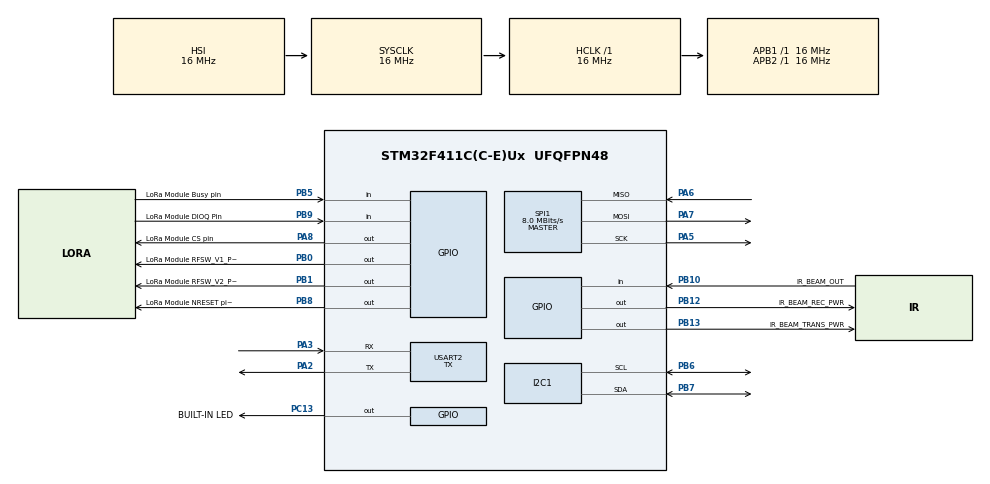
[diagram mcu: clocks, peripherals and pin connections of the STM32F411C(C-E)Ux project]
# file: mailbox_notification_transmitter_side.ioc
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Mcu.Family=STM32F4
Mcu.Name=STM32F411C(C-E)Ux
Mcu.Package=UFQFPN48
NVIC.PriorityGroup=NVIC_PRIORITYGROUP_4
NVIC.RTC_WKUP_IRQn=true\:0\:0\:false\:false\:true\:true\:true\:true
PA0-WKUP.Mode=SYS_WakeUp0
PA0-WKUP.Signal=SYS_WKUP
PA2.GPIO_Speed=GPIO_SPEED_FREQ_LOW
PA2.Mode=Asynchronous
PA2.Signal=USART2_TX
PA3.GPIO_Speed=GPIO_SPEED_FREQ_LOW
PA3.Mode=Asynchronous
PA3.Signal=USART2_RX
PA5.GPIO_Speed=GPIO_SPEED_FREQ_LOW
PA5.Mode=Full_Duplex_Master
PA5.Signal=SPI1_SCK
PA6.GPIO_Speed=GPIO_SPEED_FREQ_LOW
PA6.Mode=Full_Duplex_Master
PA6.Signal=SPI1_MISO
PA7.GPIO_Speed=GPIO_SPEED_FREQ_LOW
PA7.Mode=Full_Duplex_Master
PA7.Signal=SPI1_MOSI
PA8.GPIO_Label=LoRa Module CS pin
PA8.PinState=GPIO_PIN_SET
PA8.Signal=GPIO_Output
PB0.GPIO_Label=LoRa Module RFSW_V1_PIN_POS
PB0.Signal=GPIO_Output
PB1.GPIO_Label=LoRa Module RFSW_V2_PIN_POS
PB1.Signal=GPIO_Output
PB10.GPIO_Label=IR_BEAM_OUT
PB10.GPIO_PuPd=GPIO_PULLUP
PB10.Signal=GPIO_Input
PB12.GPIO_Label=IR_BEAM_REC_PWR
PB12.Signal=GPIO_Output
PB13.GPIO_Label=IR_BEAM_TRANS_PWR
PB13.PinState=GPIO_PIN_RESET
PB13.Signal=GPIO_Output
PB5.GPIO_Label=LoRa Module Busy pin
PB5.Signal=GPIO_Input
PB6.Mode=I2C
PB6.Signal=I2C1_SCL
PB7.Mode=I2C
PB7.Signal=I2C1_SDA
PB8.GPIO_Label=LoRa Module NRESET pin (Active-Low)
PB8.PinState=GPIO_PIN_SET
PB8.Signal=GPIO_Output
PB9.GPIO_Label=LoRa Module DIOQ Pin
PB9.GPIO_PuPd=GPIO_PULLDOWN
PB9.Signal=GPIO_Input
PC13-ANTI_TAMP.GPIO_Label=BUILT-IN LED
PC13-ANTI_TAMP.Signal=GPIO_Output
PC14-OSC32_IN.Mode=LSE-External-Oscillator
PC14-OSC32_IN.Signal=RCC_OSC32_IN
PC15-OSC32_OUT.Mode=LSE-External-Oscillator
PC15-OSC32_OUT.Signal=RCC_OSC32_OUT
ProjectManager.HeapSize=0x200
ProjectManager.StackSize=0x400
ProjectManager.TargetToolchain=STM32CubeIDE
RCC.48MHZClocksFreq_Value=48000000
RCC.AHBFreq_Value=16000000
RCC.APB1Freq_Value=16000000
RCC.APB1TimFreq_Value=16000000
RCC.APB2Freq_Value=16000000
RCC.APB2TimFreq_Value=16000000
RCC.CortexFreq_Value=16000000
RCC.HCLKFreq_Value=16000000
RCC.HSE_VALUE=25000000
RCC.HSI_VALUE=16000000
RCC.RCC_RTC_Clock_Source=RCC_RTCCLKSOURCE_LSE
RCC.RCC_RTC_Clock_SourceVirtual=RCC_RTCCLKSOURCE_LSE
RCC.SYSCLKFreq_VALUE=16000000
RCC.VCOOutputFreq_Value=192000000
RTC.SynchPrediv=255
RTC.WakeUpClock=RTC_WAKEUPCLOCK_CK_SPRE_16BITS
SPI1.BaudRatePrescaler=SPI_BAUDRATEPRESCALER_2
SPI1.CLKPhase=SPI_PHASE_1EDGE
SPI1.CalculateBaudRate=8.0 MBits/s
SPI1.Direction=SPI_DIRECTION_2LINES
SPI1.Mode=SPI_MODE_MASTER
SPI1.VirtualType=VM_MASTER
USART2.Mode=MODE_TX
USART2.VirtualMode=VM_ASYNC
VP_RTC_VS_RTC_Activate.Mode=RTC_Enabled
VP_RTC_VS_RTC_WakeUp_intern.Mode=WakeUp
board=custom

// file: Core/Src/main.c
/* USER CODE BEGIN Header */
/**
  ******************************************************************************
  * @file           : main.c
  * @brief          : Main program body
  ******************************************************************************
  * @attention
  *
  * Copyright (c) 2026 STMicroelectronics.
  * All rights reserved.
  *
  * This software is licensed under terms that can be found in the LICENSE file
  * in the root directory of this software component.
  * If no LICENSE file comes with this software, it is provided AS-IS.
  *
  ******************************************************************************
  */
/* USER CODE END Header */
#include "main.h"

/* USER CODE BEGIN Includes */
#include "rylr689_driver.h"
//#include "gpio_driver.h"
#include <string.h>
#include "stm32_commons.h"

/* USER CODE END Includes */

/* USER CODE BEGIN PD */

//#define DEBUG_MODE__
#define WAIT_FOR_ACTION_DURATION (3U) /* 5 seconds. */
#define MAILBOX_RXTX_MAGIC_NUMBER 0xDEADBEEFU

/* USER CODE END PD */

I2C_HandleTypeDef hi2c1;

RTC_HandleTypeDef hrtc;

SPI_HandleTypeDef hspi1;

UART_HandleTypeDef huart2;

void SystemClock_Config(void);
static void MX_GPIO_Init(void);
static void MX_RTC_Init(void);
static void MX_SPI1_Init(void);
static void MX_USART2_UART_Init(void);
static void MX_I2C1_Init(void);
/* USER CODE BEGIN PFP */

static uint8_t readIRBeamSensor(void);
static void waitForAction(void);

static void testApp(const rylr689_instance_t *radio, uint8_t mailboxEmptyInit, uint8_t mailboxEmptyFinal);

/* USER CODE END PFP */

int main(void)
{

  /* MCU Configuration--------------------------------------------------------*/

  /* Reset of all peripherals, Initializes the Flash interface and the Systick. */
  HAL_Init();

  /* Configure the system clock */
  SystemClock_Config();

  /* Initialize all configured peripherals */
  MX_GPIO_Init();
  MX_RTC_Init();
  MX_SPI1_Init();
  MX_USART2_UART_Init();
  MX_I2C1_Init();
  /* USER CODE BEGIN 2 */
  uint8_t status[256];
  rylr689_instance_t radio1 = {
		  .spiHandle = &hspi1,
		  .spiReceive = wrapper_spi_receive,
		  .spiTransmit = wrapper_spi_transmit,
		  .pinWrite = wrapper_pin_write,
		  .pinRead = wrapper_pin_read,
		  .rxBuff = status,
		  .rxBuffSize = RX_BUFF_SIZE,
		  .txBuff = status,
		  .txBuffSize = TX_BUFF_SIZE
  };

  radio1.csPin.pin = LoRa_Module_CS_pin_Pin;
  radio1.csPin.port = LoRa_Module_CS_pin_GPIO_Port;
  radio1.busyPin.pin = LoRa_Module_Busy_pin_Pin;
  radio1.busyPin.port = LoRa_Module_Busy_pin_GPIO_Port;
  radio1.nresetPin.pin = LoRa_Module_NRESET_pin_Pin;
  radio1.nresetPin.port = LoRa_Module_NRESET_pin_GPIO_Port;
  radio1.itPin.pin = LoRa_Module_DIOQ_Pin_Pin;
  radio1.itPin.port = LoRa_Module_DIOQ_Pin_GPIO_Port;
  radio1.rfswV1Pin.pin = LoRa_Module_RFSW_V1_PIN_POS_Pin;
  radio1.rfswV1Pin.port = LoRa_Module_RFSW_V1_PIN_POS_GPIO_Port;
  radio1.rfswV2Pin.pin = LoRa_Module_RFSW_V2_PIN_POS_Pin;
  radio1.rfswV2Pin.port = LoRa_Module_RFSW_V2_PIN_POS_GPIO_Port;

  rylr689_radio_init(&radio1);
  /* Turn off built-in LED. */
  HAL_GPIO_WritePin(BUILT_IN_LED_GPIO_Port, BUILT_IN_LED_Pin, GPIO_PIN_SET);

#ifdef DEBUG_MODE__
  while(1) {
	  testApp(&radio1, 1, 1); /* Turns on Built-in LED. */
	  /* Turn off built-in LED. */
	  HAL_GPIO_WritePin(BUILT_IN_LED_GPIO_Port, BUILT_IN_LED_Pin, GPIO_PIN_SET);
	  testApp(&radio1, 1, 0);
	  testApp(&radio1, 0, 1);
	  testApp(&radio1, 0, 0);
  }
#else
  uint8_t mailboxEmptyInit;
  uint8_t mailboxEmptyFinal;

  /* HAL RTC init sets up a timer that fires interrupt each tick,
   * this sets the WUF flag. So disable timer since it is not needed
   * yet. */
  HAL_RTCEx_DeactivateWakeUpTimer(&hrtc);

  /* This is guaranteed to be false during initial device setup.
   * That is, no power source; completely dead from the beginning. */
	if(wakeFromStandby()) {

		/* Clear wake up flags. */
		clearWakeUpFlags();
		/* Check initial mail status. */
		mailboxEmptyInit = readIRBeamSensor();

		/* Go to sleep. */
		waitForAction();

		/* Verify final state of mailbox. */
		mailboxEmptyFinal = readIRBeamSensor();

		/* Sensor reading == 1 means beam is not broken. That is, mailbox is empty.
		* Sensor reading == 0 means beam is broken. That is, mailbox is not empty.
		* Mail present statuses:
		* 	0: Mail taken out.
		* 	1: New mail arrived.
		* 	2: Old plus possibly new mail.
		* */
		uint32_t magicNum = MAILBOX_RXTX_MAGIC_NUMBER;
		/* Place the four-byte magic number in index 1 to 4*/
		memcpy(radio1.txBuff + 1, &magicNum, sizeof(uint32_t));
		uint8_t packetSize = sizeof(uint32_t) + 1;

		if(mailboxEmptyInit) { /* Mail is initially empty. */
			if(!mailboxEmptyFinal) { /* Mail is not empty anymore. */
				*(radio1.txBuff) = 1;
				/* Send "New mail arrived" notification. */
				rylr689_radio_send(&radio1, packetSize);
			}
			else {	/* TESTING ONLY! REMOVE LATER! */

				/* Turn on Built-in LED if false alarm. */
				HAL_GPIO_WritePin(BUILT_IN_LED_GPIO_Port, BUILT_IN_LED_Pin, GPIO_PIN_RESET);
				HAL_Delay(1000);
				*(radio1.txBuff) = 3;
				rylr689_radio_send(&radio1, packetSize);
			}
			/* Otherwise, do not send any notification.
			* False alarm.*/
		}
		else { /* Mail is initially not empty. */
			if(mailboxEmptyFinal) { /* Mail is now empty. */
				*(radio1.txBuff) = 0;
				/* Send "Mail taken out" notification. */
				rylr689_radio_send(&radio1, packetSize);
			}
			else { /* Old and possibly new mail inside the mailbox. */
				*(radio1.txBuff) = 2;
				/* Send "Old and possibly new mail" notification. */
				rylr689_radio_send(&radio1, packetSize);
			}
		}
	}

	enterStandbyWkPin();
#endif /* #ifdef DEBUG_MODE__ */
  /* USER CODE END 2 */

  /* Infinite loop */
  while (1)
  {

  }
}

void SystemClock_Config(void)
{
  RCC_OscInitTypeDef RCC_OscInitStruct = {0};
  RCC_ClkInitTypeDef RCC_ClkInitStruct = {0};

  /** Configure the main internal regulator output voltage
  */
  __HAL_RCC_PWR_CLK_ENABLE();
  __HAL_PWR_VOLTAGESCALING_CONFIG(PWR_REGULATOR_VOLTAGE_SCALE1);

  /** Initializes the RCC Oscillators according to the specified parameters
  * in the RCC_OscInitTypeDef structure.
  */
  RCC_OscInitStruct.OscillatorType = RCC_OSCILLATORTYPE_HSI|RCC_OSCILLATORTYPE_LSE;
  RCC_OscInitStruct.LSEState = RCC_LSE_ON;
  RCC_OscInitStruct.HSIState = RCC_HSI_ON;
  RCC_OscInitStruct.HSICalibrationValue = RCC_HSICALIBRATION_DEFAULT;
  RCC_OscInitStruct.PLL.PLLState = RCC_PLL_NONE;
  if (HAL_RCC_OscConfig(&RCC_OscInitStruct) != HAL_OK)
  {
    Error_Handler();
  }

  /** Initializes the CPU, AHB and APB buses clocks
  */
  RCC_ClkInitStruct.ClockType = RCC_CLOCKTYPE_HCLK|RCC_CLOCKTYPE_SYSCLK
                              |RCC_CLOCKTYPE_PCLK1|RCC_CLOCKTYPE_PCLK2;
  RCC_ClkInitStruct.SYSCLKSource = RCC_SYSCLKSOURCE_HSI;
  RCC_ClkInitStruct.AHBCLKDivider = RCC_SYSCLK_DIV1;
  RCC_ClkInitStruct.APB1CLKDivider = RCC_HCLK_DIV1;
  RCC_ClkInitStruct.APB2CLKDivider = RCC_HCLK_DIV1;

  if (HAL_RCC_ClockConfig(&RCC_ClkInitStruct, FLASH_LATENCY_0) != HAL_OK)
  {
    Error_Handler();
  }
}

static void MX_I2C1_Init(void)
{

  hi2c1.Instance = I2C1;
  hi2c1.Init.ClockSpeed = 100000;
  hi2c1.Init.DutyCycle = I2C_DUTYCYCLE_2;
  hi2c1.Init.OwnAddress1 = 0;
  hi2c1.Init.AddressingMode = I2C_ADDRESSINGMODE_7BIT;
  hi2c1.Init.DualAddressMode = I2C_DUALADDRESS_DISABLE;
  hi2c1.Init.OwnAddress2 = 0;
  hi2c1.Init.GeneralCallMode = I2C_GENERALCALL_DISABLE;
  hi2c1.Init.NoStretchMode = I2C_NOSTRETCH_DISABLE;
  if (HAL_I2C_Init(&hi2c1) != HAL_OK)
  {
    Error_Handler();
  }

}

static void MX_RTC_Init(void)
{

  RTC_TimeTypeDef sTime = {0};
  RTC_DateTypeDef sDate = {0};

  /** Initialize RTC Only
  */
  hrtc.Instance = RTC;
  hrtc.Init.HourFormat = RTC_HOURFORMAT_24;
  hrtc.Init.AsynchPrediv = 127;
  hrtc.Init.SynchPrediv = 255;
  hrtc.Init.OutPut = RTC_OUTPUT_DISABLE;
  hrtc.Init.OutPutPolarity = RTC_OUTPUT_POLARITY_HIGH;
  hrtc.Init.OutPutType = RTC_OUTPUT_TYPE_OPENDRAIN;
  if (HAL_RTC_Init(&hrtc) != HAL_OK)
  {
    Error_Handler();
  }

  /** Initialize RTC and set the Time and Date
  */
  sTime.Hours = 0x0;
  sTime.Minutes = 0x0;
  sTime.Seconds = 0x0;
  sTime.DayLightSaving = RTC_DAYLIGHTSAVING_NONE;
  sTime.StoreOperation = RTC_STOREOPERATION_RESET;
  if (HAL_RTC_SetTime(&hrtc, &sTime, RTC_FORMAT_BCD) != HAL_OK)
  {
    Error_Handler();
  }
  sDate.WeekDay = RTC_WEEKDAY_MONDAY;
  sDate.Month = RTC_MONTH_JANUARY;
  sDate.Date = 0x1;
  sDate.Year = 0x0;

  if (HAL_RTC_SetDate(&hrtc, &sDate, RTC_FORMAT_BCD) != HAL_OK)
  {
    Error_Handler();
  }

  /** Enable the WakeUp
  */
  if (HAL_RTCEx_SetWakeUpTimer_IT(&hrtc, 0, RTC_WAKEUPCLOCK_CK_SPRE_16BITS) != HAL_OK)
  {
    Error_Handler();
  }

}

static void MX_SPI1_Init(void)
{

  /* SPI1 parameter configuration*/
  hspi1.Instance = SPI1;
  hspi1.Init.Mode = SPI_MODE_MASTER;
  hspi1.Init.Direction = SPI_DIRECTION_2LINES;
  hspi1.Init.DataSize = SPI_DATASIZE_8BIT;
  hspi1.Init.CLKPolarity = SPI_POLARITY_LOW;
  hspi1.Init.CLKPhase = SPI_PHASE_1EDGE;
  hspi1.Init.NSS = SPI_NSS_SOFT;
  hspi1.Init.BaudRatePrescaler = SPI_BAUDRATEPRESCALER_2;
  hspi1.Init.FirstBit = SPI_FIRSTBIT_MSB;
  hspi1.Init.TIMode = SPI_TIMODE_DISABLE;
  hspi1.Init.CRCCalculation = SPI_CRCCALCULATION_DISABLE;
  hspi1.Init.CRCPolynomial = 10;
  if (HAL_SPI_Init(&hspi1) != HAL_OK)
  {
    Error_Handler();
  }

}

static void MX_USART2_UART_Init(void)
{

  huart2.Instance = USART2;
  huart2.Init.BaudRate = 115200;
  huart2.Init.WordLength = UART_WORDLENGTH_8B;
  huart2.Init.StopBits = UART_STOPBITS_1;
  huart2.Init.Parity = UART_PARITY_NONE;
  huart2.Init.Mode = UART_MODE_TX;
  huart2.Init.HwFlowCtl = UART_HWCONTROL_NONE;
  huart2.Init.OverSampling = UART_OVERSAMPLING_16;
  if (HAL_UART_Init(&huart2) != HAL_OK)
  {
    Error_Handler();
  }

}

static void MX_GPIO_Init(void)
{
  GPIO_InitTypeDef GPIO_InitStruct = {0};

  /* GPIO Ports Clock Enable */
  __HAL_RCC_GPIOC_CLK_ENABLE();
  __HAL_RCC_GPIOA_CLK_ENABLE();
  __HAL_RCC_GPIOB_CLK_ENABLE();

  /*Configure GPIO pin Output Level */
  HAL_GPIO_WritePin(BUILT_IN_LED_GPIO_Port, BUILT_IN_LED_Pin, GPIO_PIN_RESET);

  /*Configure GPIO pin Output Level */
  HAL_GPIO_WritePin(GPIOB, LoRa_Module_RFSW_V1_PIN_POS_Pin|LoRa_Module_RFSW_V2_PIN_POS_Pin|IR_BEAM_REC_PWR_Pin|IR_BEAM_TRANS_PWR_Pin, GPIO_PIN_RESET);

  /*Configure GPIO pin Output Level */
  HAL_GPIO_WritePin(LoRa_Module_CS_pin_GPIO_Port, LoRa_Module_CS_pin_Pin, GPIO_PIN_SET);

  /*Configure GPIO pin Output Level */
  HAL_GPIO_WritePin(LoRa_Module_NRESET_pin_GPIO_Port, LoRa_Module_NRESET_pin_Pin, GPIO_PIN_SET);

  /*Configure GPIO pin : BUILT_IN_LED_Pin */
  GPIO_InitStruct.Pin = BUILT_IN_LED_Pin;
  GPIO_InitStruct.Mode = GPIO_MODE_OUTPUT_PP;
  GPIO_InitStruct.Pull = GPIO_NOPULL;
  GPIO_InitStruct.Speed = GPIO_SPEED_FREQ_LOW;
  HAL_GPIO_Init(BUILT_IN_LED_GPIO_Port, &GPIO_InitStruct);

  /*Configure GPIO pins : LoRa_Module_RFSW_V1_PIN_POS_Pin LoRa_Module_RFSW_V2_PIN_POS_Pin IR_BEAM_REC_PWR_Pin IR_BEAM_TRANS_PWR_Pin
                           LoRa_Module_NRESET_pin_Pin */
  GPIO_InitStruct.Pin = LoRa_Module_RFSW_V1_PIN_POS_Pin|LoRa_Module_RFSW_V2_PIN_POS_Pin|IR_BEAM_REC_PWR_Pin|IR_BEAM_TRANS_PWR_Pin
                          |LoRa_Module_NRESET_pin_Pin;
  GPIO_InitStruct.Mode = GPIO_MODE_OUTPUT_PP;
  GPIO_InitStruct.Pull = GPIO_NOPULL;
  GPIO_InitStruct.Speed = GPIO_SPEED_FREQ_LOW;
  HAL_GPIO_Init(GPIOB, &GPIO_InitStruct);

  /*Configure GPIO pin : IR_BEAM_OUT_Pin */
  GPIO_InitStruct.Pin = IR_BEAM_OUT_Pin;
  GPIO_InitStruct.Mode = GPIO_MODE_INPUT;
  GPIO_InitStruct.Pull = GPIO_PULLUP;
  HAL_GPIO_Init(IR_BEAM_OUT_GPIO_Port, &GPIO_InitStruct);

  /*Configure GPIO pin : LoRa_Module_CS_pin_Pin */
  GPIO_InitStruct.Pin = LoRa_Module_CS_pin_Pin;
  GPIO_InitStruct.Mode = GPIO_MODE_OUTPUT_PP;
  GPIO_InitStruct.Pull = GPIO_NOPULL;
  GPIO_InitStruct.Speed = GPIO_SPEED_FREQ_LOW;
  HAL_GPIO_Init(LoRa_Module_CS_pin_GPIO_Port, &GPIO_InitStruct);

  /*Configure GPIO pin : LoRa_Module_Busy_pin_Pin */
  GPIO_InitStruct.Pin = LoRa_Module_Busy_pin_Pin;
  GPIO_InitStruct.Mode = GPIO_MODE_INPUT;
  GPIO_InitStruct.Pull = GPIO_NOPULL;
  HAL_GPIO_Init(LoRa_Module_Busy_pin_GPIO_Port, &GPIO_InitStruct);

  /*Configure GPIO pin : LoRa_Module_DIOQ_Pin_Pin */
  GPIO_InitStruct.Pin = LoRa_Module_DIOQ_Pin_Pin;
  GPIO_InitStruct.Mode = GPIO_MODE_INPUT;
  GPIO_InitStruct.Pull = GPIO_PULLDOWN;
  HAL_GPIO_Init(LoRa_Module_DIOQ_Pin_GPIO_Port, &GPIO_InitStruct);

}

/* USER CODE BEGIN 4 */

static void testApp(const rylr689_instance_t *radio, uint8_t mailboxEmptyInit, uint8_t mailboxEmptyFinal) {
	/* Mail present statuses:
	* 	 0: Mail taken out.
	* 	 1: New mail arrived.
	* 	 2: Old plus possibly new mail.
	* */
	uint32_t magicNum = MAILBOX_RXTX_MAGIC_NUMBER;
	/* Place the four-byte magic number in index 1 to 4*/
	memcpy(radio->txBuff + 1, &magicNum, sizeof(uint32_t));
	uint8_t packetSize = sizeof(uint32_t) + 1;

	/* Place status in index 0. */
	if(mailboxEmptyInit) { /* Mail is initially empty. */
		if(!mailboxEmptyFinal) { /* Mail is not empty anymore. */
			*(radio->txBuff) = 1;
			/* Send "New mail arrived" notification. */
			rylr689_radio_send(radio, packetSize);
		}
		else {
			/* Turn on Built-in LED if false alarm. */
			HAL_GPIO_WritePin(BUILT_IN_LED_GPIO_Port, BUILT_IN_LED_Pin, GPIO_PIN_RESET);
			*(radio->txBuff) = 3;
			rylr689_radio_send(radio, packetSize);
		}
	}
	else { /* Mail is initially not empty. */
		if(mailboxEmptyFinal) { /* Mail is now empty. */
			*(radio->txBuff) = 0;
			/* Send "Mail taken out" notification. */
			rylr689_radio_send(radio, packetSize);
		}
		else { /* Old and possibly new mail inside the mailbox. */
			*(radio->txBuff) = 2;
			rylr689_radio_send(radio, packetSize);
			/* Send "Old and possibly new mail" notification. */
		}
	}
	HAL_Delay(3000);
}

static uint8_t readIRBeamSensor(void) {
	HAL_GPIO_WritePin(IR_BEAM_REC_PWR_GPIO_Port, IR_BEAM_REC_PWR_Pin, GPIO_PIN_SET);
	HAL_GPIO_WritePin(IR_BEAM_TRANS_PWR_GPIO_Port, IR_BEAM_TRANS_PWR_Pin, GPIO_PIN_SET);
	HAL_Delay(10); /* 50 ms delay. */

	/* Reset (0) means beam is broken. */
	uint8_t status = HAL_GPIO_ReadPin(IR_BEAM_OUT_GPIO_Port, IR_BEAM_OUT_Pin);

	HAL_GPIO_WritePin(IR_BEAM_REC_PWR_GPIO_Port, IR_BEAM_REC_PWR_Pin, GPIO_PIN_RESET);
	HAL_GPIO_WritePin(IR_BEAM_TRANS_PWR_GPIO_Port, IR_BEAM_TRANS_PWR_Pin, GPIO_PIN_RESET);

	return status;
}

void waitForAction(void) {
	HAL_SuspendTick();
	HAL_RTCEx_SetWakeUpTimer_IT(&hrtc, WAIT_FOR_ACTION_DURATION, RTC_WAKEUPCLOCK_CK_SPRE_16BITS);

	/* Clear flags and pending interrupts to ensure it will enter Stop mode. */
	clearWakeUpFlags();
	EXTI->PR |= (0x67FFFFU);
	HAL_PWR_EnterSTOPMode(PWR_LOWPOWERREGULATOR_ON, PWR_STOPENTRY_WFI);

	/* Sleeps. */

	/* Recover*/
	SystemClock_Config();
	HAL_ResumeTick();
	HAL_RTCEx_DeactivateWakeUpTimer(&hrtc);

	/* Clear wake up flag for clean sleep state after waking. */
	clearWakeUpFlags();
	/* IT flags are handled automatically by HAL. */
}

/* USER CODE END 4 */

void Error_Handler(void)
{
  __disable_irq();
  while (1)
  {
  }
}
